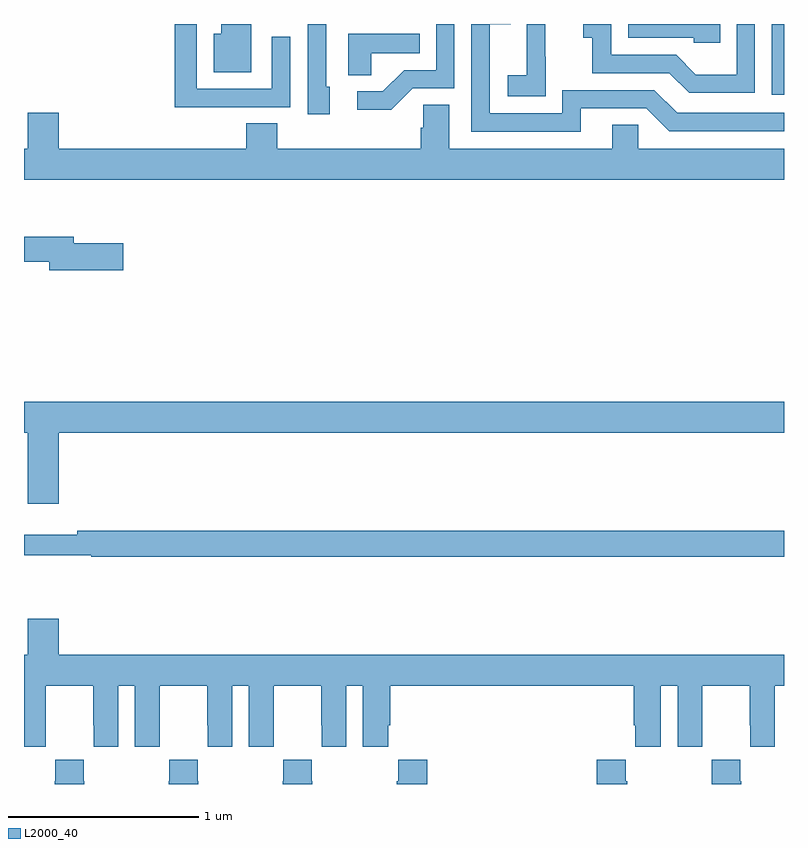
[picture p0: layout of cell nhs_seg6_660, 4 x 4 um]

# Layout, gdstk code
import gdstk
lib = gdstk.Library(unit=1e-6, precision=1e-09)
def R(c, l, rs):  # rectangles x0, y0, x1, y1
    for r in rs: c.add(gdstk.rectangle(r[:2], r[2:], *l))
def P(c, l, *ps):  # polygons
    for p in ps: c.add(gdstk.Polygon(p, *l))
L2000_40 = (2000, 40)

nhs_seg6_660 = lib.new_cell('nhs_seg6_660')
R(nhs_seg6_660, L2000_40, [(156.936,937.128,157,937.5)])
P(nhs_seg6_660, L2000_40, [(155.745,937.327),(155.744,937.327),(155.744,937.5),(155.646,937.5),(155.646,937.46),(155.645,937.46),(155.645,937.231),(155.547,937.231),(155.547,937.121),(155.745,937.121)],
  [(154.085,937.062),(154.401,937.062),(154.401,937.432),(154.305,937.432),(154.305,937.158),(153.909,937.158),(153.909,937.5),(153.793,937.5),(153.793,937.061),(154.085,937.061)],
  [(156.846,937.5),(156.75,937.5),(156.75,937.234),(156.536,937.234),(156.432,937.338),(156.09,937.338),(156.09,937.5),(155.943,937.5),(155.943,937.427),(155.992,937.427),(155.992,937.242),(156.395,937.242),(156.5,937.137),(156.846,937.137)],
  [(155.046,937.161),(155.265,937.161),(155.265,937.5),(155.169,937.5),(155.169,937.257),(155,937.257),(154.889,937.146),(154.755,937.146),(154.755,937.049),(154.933,937.049)],
  [(155.929,937.056),(156.276,937.056),(156.396,936.936),(157,936.936),(157,937.032),(156.438,937.032),(156.318,937.152),(155.832,937.152),(155.832,937.029),(155.451,937.029),(155.451,937.498),(155.561,937.498),(155.561,937.5),(155.355,937.5),(155.355,936.933),(155.929,936.933)],
  [(154.609,937.17),(154.59,937.17),(154.59,937.5),(154.494,937.5),(154.494,937.026),(154.609,937.026)],
  [(156.665,937.5),(156.18,937.5),(156.18,937.428),(156.525,937.428),(156.525,937.401),(156.665,937.401)],
  [(154.195,937.5),(154.037,937.5),(154.037,937.45),(153.998,937.45),(153.998,937.247),(154.195,937.247)],
  [(154.827,937.346),(155.084,937.346),(155.084,937.45),(154.706,937.45),(154.706,937.231),(154.827,937.231)],
  [(157,936.844),(156.234,936.844),(156.234,936.971),(156.095,936.971),(156.095,936.844),(155.239,936.844),(155.239,937.076),(155.1,937.076),(155.1,936.953),(155.087,936.953),(155.087,936.844),(154.334,936.844),(154.334,936.977),(154.169,936.977),(154.169,936.844),(153.184,936.844),(153.184,937.033),(153.02,937.033),(153.02,936.844),(153,936.844),(153,936.68),(157,936.68)],
  [(153.523,936.345),(153.262,936.345),(153.262,936.379),(153,936.379),(153,936.25),(153.134,936.25),(153.134,936.203),(153.523,936.203)],
  [(153.184,935.348),(157,935.348),(157,935.512),(153,935.512),(153,935.348),(153.02,935.348),(153.02,934.974),(153.184,934.974)],
  [(157,934.832),(153.28,934.832),(153.28,934.813),(153,934.813),(153,934.704),(153.355,934.704),(153.355,934.696),(157,934.696)],
  [(153.114,933.808),(153.115,933.808),(153.115,934.016),(153.365,934.016),(153.365,933.808),(153.366,933.808),(153.366,933.696),(153.496,933.696),(153.496,934.016),(153.584,934.016),(153.584,933.696),(153.714,933.696),(153.714,933.808),(153.715,933.808),(153.715,934.016),(153.965,934.016),(153.965,933.808),(153.966,933.808),(153.966,933.696),(154.096,933.696),(154.096,934.016),(154.184,934.016),(154.184,933.696),(154.314,933.696),(154.314,933.808),(154.315,933.808),(154.315,934.016),(154.565,934.016),(154.565,933.808),(154.566,933.808),(154.566,933.696),(154.696,933.696),(154.696,934.016),(154.784,934.016),(154.784,933.696),(154.918,933.696),(154.918,933.808),(154.928,933.808),(154.928,934.016),(156.209,934.016),(156.209,933.808),(156.218,933.808),(156.218,933.696),(156.352,933.696),(156.352,934.016),(156.44,934.016),(156.44,933.696),(156.57,933.696),(156.57,933.808),(156.571,933.808),(156.571,934.016),(156.821,934.016),(156.821,933.808),(156.822,933.808),(156.822,933.696),(156.952,933.696),(156.952,934.016),(157,934.016),(157,934.18),(153.184,934.18),(153.184,934.369),(153.02,934.369),(153.02,934.18),(153,934.18),(153,933.696),(153.114,933.696)],
  [(156.774,933.515),(156.771,933.515),(156.771,933.628),(156.621,933.628),(156.621,933.515),(156.619,933.515),(156.619,933.5),(156.774,933.5)],
  [(156.174,933.515),(156.167,933.515),(156.167,933.628),(156.014,933.628),(156.014,933.5),(156.174,933.5)],
  [(155.123,933.628),(154.969,933.628),(154.969,933.515),(154.963,933.515),(154.963,933.5),(155.123,933.5)],
  [(154.518,933.515),(154.515,933.515),(154.515,933.628),(154.365,933.628),(154.365,933.515),(154.363,933.515),(154.363,933.5),(154.518,933.5)],
  [(153.918,933.515),(153.915,933.515),(153.915,933.628),(153.765,933.628),(153.765,933.515),(153.763,933.515),(153.763,933.5),(153.918,933.5)],
  [(153.318,933.515),(153.315,933.515),(153.315,933.628),(153.165,933.628),(153.165,933.515),(153.163,933.515),(153.163,933.5),(153.318,933.5)])

lib.write_gds('nhs_seg6_660.gds')
